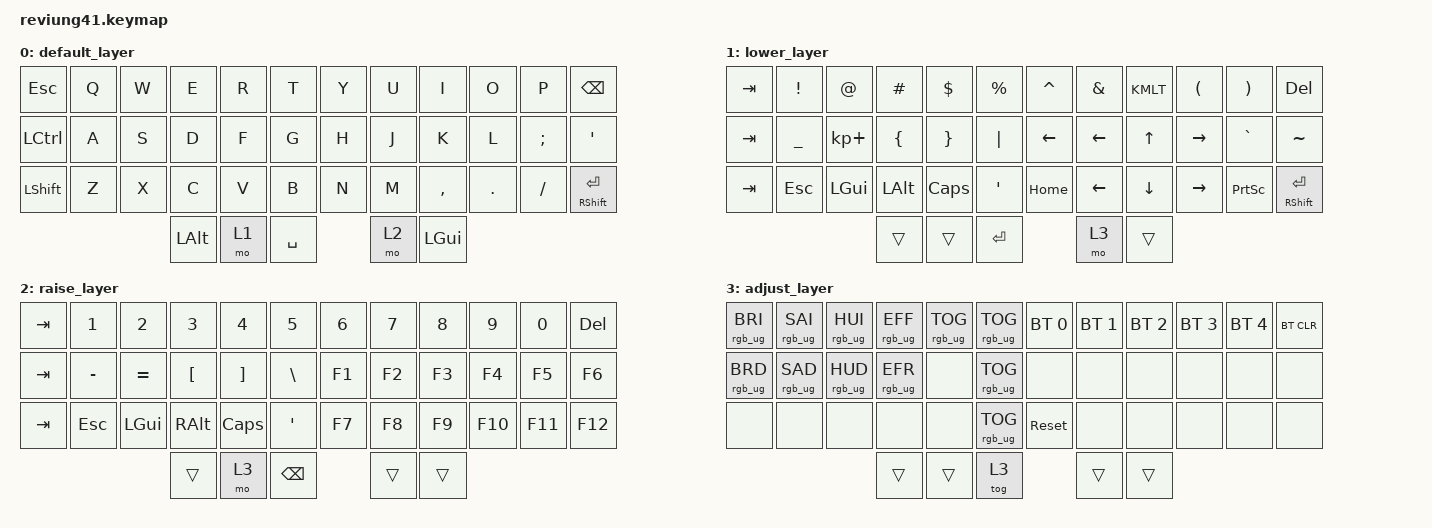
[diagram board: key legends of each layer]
/*
 * Copyright (c) 2020 The ZMK Contributors
 *
 * SPDX-License-Identifier: MIT
 */

#include <behaviors.dtsi>
#include <dt-bindings/zmk/keys.h>
#include <dt-bindings/zmk/bt.h>
#include <dt-bindings/zmk/rgb.h>

/ {
        keymap {
                compatible = "zmk,keymap";

                default_layer {
// -------------------------------------------------------------------------------------
// |  ESC |  Q  |  W  |  E  |  R  |  T  |   |  Y  |  U   |  I  |  O  |  P  |   BKSP    |
// | CTRL |  A  |  S  |  D  |  F  |  G  |   |  H  |  J   |  K  |  L  |  ;  |    '      |
// | SHFT |  Z  |  X  |  C  |  V  |  B  |   |  N  |  M   |  ,  |  .  |  /  | SHFT(RET) |
//                         | ALT | LWR | SPC | RSE  | LGUI |
                        bindings = <
   &kp ESC   &kp Q &kp W &kp E &kp R &kp T   &kp Y &kp U  &kp I     &kp O   &kp P    &kp BSPC
   &kp LCTRL &kp A &kp S &kp D &kp F &kp G   &kp H &kp J  &kp K     &kp L   &kp SEMI &kp SQT
   &kp LSHFT &kp Z &kp X &kp C &kp V &kp B   &kp N &kp M  &kp COMMA &kp DOT &kp FSLH &mt RSHFT RET
                        &kp LALT  &mo 1 &kp SPACE &mo 2  &kp LGUI
                        >;
                };

                lower_layer {
// ----------------------------------------------------------------------------------
// |TAB |  !  |  @  |  #  |  $  |  %  |   |  ^  |  &  |  *  |  (  |  )  |    DEL    |
// |TAB |  _  |  +  |  {  |  }  | "|" |   | LFT | DWN |  UP | RGT |  `  |     ~     |
// |TAB | ESC | GUI | ALT | CAPS|  "  |   | HOME| END | PGUP| PGDN| PRSC| SHFT(RET) |
//                       |     |     | RET | ADJ |     |
                        bindings = <
   &kp TAB &kp EXCL  &kp AT      &kp HASH &kp DLLR &kp PRCNT      &kp CARET &kp AMPS &kp KMLT  &kp LPAR  &kp RPAR  &kp DEL
   &kp TAB &kp UNDER &kp KP_PLUS &kp LBRC &kp RBRC &kp PIPE       &kp LEFT  &kp LEFT &kp UP    &kp RIGHT &kp GRAVE &kp TILDE
   &kp TAB &kp ESC   &kp LGUI    &kp LALT &kp CLCK &kp SQT        &kp HOME  &kp LEFT  &kp DOWN &kp RIGHT &kp PSCRN &mt RSHFT RET
                                 &trans      &trans       &kp RET        &mo 3       &trans
                        >;
                };

                raise_layer {
// -----------------------------------------------------------------------------------------
// | TAB|  1  |  2  |  3  |  4  |  5  |   |  6  |  7  |  8  |  9  |  0  | DEL |
// | TAB|  -  |  =  |  [  |  ]  |  \  |   | F1  | F2  | F3  | F4  | F5  | F6  |
// | TAB| ESC | GUI | ALT | CAPS|  "  |   | F7  | F8  | F9  | F10 | F11 | F12 |
//                       |     | ADJ | BKSP |    |     |
                        bindings = <
   &kp TAB &kp N1    &kp N2    &kp N3    &kp N4    &kp N5        &kp N6    &kp N7    &kp N8    &kp N9    &kp N0    &kp DEL
   &kp TAB &kp MINUS &kp EQUAL &kp LBKT  &kp RBKT  &kp BSLH      &kp F1    &kp F2    &kp F3    &kp F4    &kp F5    &kp F6
   &kp TAB &kp ESC   &kp LGUI  &kp RALT  &kp CLCK  &kp SQT       &kp F7    &kp F8    &kp F9    &kp F10   &kp F11   &kp F12
                                &trans      &mo 3       &kp BSPC        &trans      &trans
                        >;
                };

                adjust_layer {
// -----------------------------------------------------------------------------------------
// | RGB BRI+ | RGB SAT+ | RGB HUE+ | RGB ANI+ |    | RGB TOG |   |  BT1  | BT2 | BT3 | BT4 | BT5 | BT CLR |
// | RGB BRI- | RGB SAT- | RGB HUE- | RGB ANI- |    |         |   |       |     |     |     |     |        |
// |          |          |          |          |    |         |   | RESET |     |     |     |     |        |
//                                              |     |     |     |     |     |
                        bindings = <
   &rgb_ug RGB_BRI &rgb_ug RGB_SAI &rgb_ug RGB_HUI &rgb_ug RGB_EFF &rgb_ug RGB_TOG &rgb_ug RGB_TOG    &bt BT_SEL 0 &bt BT_SEL 1 &bt BT_SEL 2 &bt BT_SEL 3 &bt BT_SEL 4 &bt BT_CLR
   &rgb_ug RGB_BRD &rgb_ug RGB_SAD &rgb_ug RGB_HUD &rgb_ug RGB_EFR &none &rgb_ug RGB_TOG             &none        &none        &none        &none        &none        &none
   &none           &none           &none           &none           &none &rgb_ug RGB_TOG              &sys_reset       &none        &none        &none        &none        &none
                                                             &trans      &trans       &tog 3        &trans      &trans
                        >;
                };
        };
};
